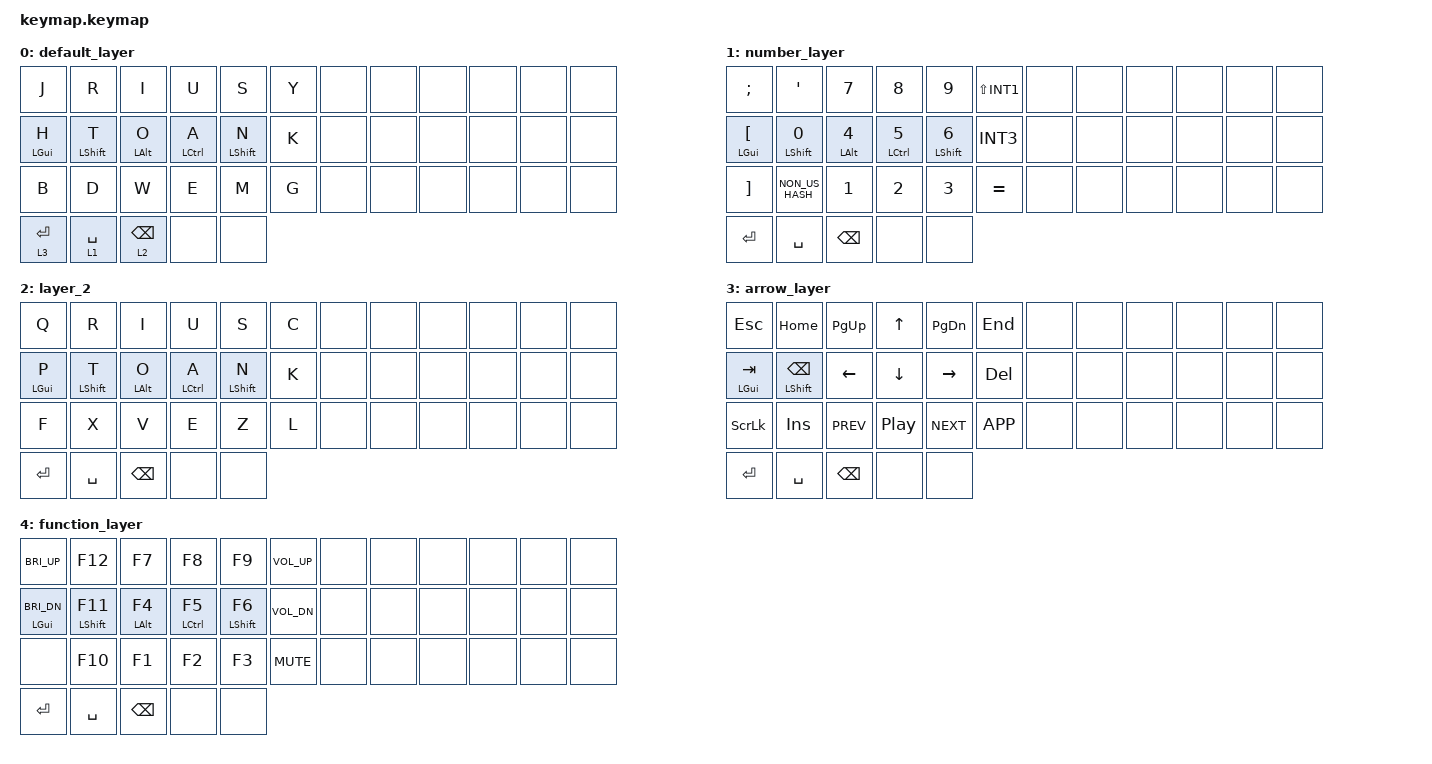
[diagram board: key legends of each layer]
#include <behaviors.dtsi>
#include <dt-bindings/zmk/keys.h>

/* --- JIS配列環境用定義 --- */
#define JIS_CARET EQUAL
#define JIS_AMPS  LS(N6)
#define JIS_ASTRK LS(SQT)
#define JIS_LPAR  LS(N8)
#define JIS_RPAR  LS(N9)
#define JIS_EQL   LS(MINUS)
#define JIS_PLUS  LS(SEMI)
#define JIS_LT    LS(COMMA)
#define JIS_GT    LS(DOT)
#define JIS_QMARK LS(SLASH)
#define JIS_UNDR  LS(INT1)
#define JIS_PIPE  LS(INT3)
#define JIS_BSLH  INT3
#define JIS_AT    LBKT
#define JIS_LBKT  RBKT
#define JIS_RBKT  NON_US_HASH
#define JIS_LBRC  LS(RBKT)
#define JIS_RBRC  LS(NON_US_HASH)
#define JIS_COLON SQT
#define JIS_SEMI  SEMI
#define JIS_QUOT  LS(N7)
#define JIS_DQUOT LS(N2)
#define JIS_GRV   LS(LBKT)
#define JIS_TILDE LS(EQUAL)
#define JIS_DLLR  LS(N4)
#define JIS_PRCNT LS(N5)
#define JIS_EXCL  LS(N1)
#define JIS_HASH  LS(N3)

/ {
    /* ホールドタップの挙動設定 */
    behaviors {
        hm: home_row_mods {
            compatible = "zmk,behavior-hold-tap";
            label = "HOME_ROW_MODS";
            #binding-cells = <2>;
            tapping-term-ms = <280>;
            quick-tap-ms = <175>;
            flavor = "tap-preferred";
            bindings = <&kp>, <&kp>;
            require-prior-idle-ms = <125>;
        };
        lt_p: layer_tap_preferred {
            compatible = "zmk,behavior-hold-tap";
            label = "LAYER_TAP_PREFERRED";
            #binding-cells = <2>;
            tapping-term-ms = <200>;
            quick-tap-ms = <0>;
            flavor = "tap-preferred";
            bindings = <&mo>, <&kp>;
        };
    };

    /* コンボ設定 */
    combos {
        compatible = "zmk,combos";
        combo_caps {
            timeout-ms = <30>;
            key-positions = <2 3>;
            bindings = <&kp CAPS>;
            layers = <0 1 2>;
        };
        combo_comma {
            timeout-ms = <30>;
            key-positions = <14 15>;
            bindings = <&kp COMMA>;
            layers = <0 1 2>;
        };
        combo_dot {
            timeout-ms = <30>;
            key-positions = <15 16>;
            bindings = <&kp DOT>;
            layers = <0 1 2>;
        };
        combo_slash {
            timeout-ms = <30>;
            key-positions = <14 16>;
            bindings = <&kp JIS_QMARK>; /* JISマクロへ変更 */
            layers = <0 1 2>;
        };
        combo_minus {
            timeout-ms = <50>;
            key-positions = <14 15 16>;
            bindings = <&kp MINUS>;
            layers = <0 1 2>;
        };
    };

    /* 条件付きレイヤー */
    conditional_layers {
        compatible = "zmk,conditional-layers";
        tri_layer {
            if-layers = <1 2>;
            then-layer = <4>;
        };
    };

    keymap {
        compatible = "zmk,keymap";

        /* Layer 0: デフォルトレイヤー */
        default_layer {
            bindings = <
                &kp J        &kp R         &kp I         &kp U        &kp S          &kp Y      &none &none &none &none &none &none
                &hm LGUI H   &hm LSHIFT T  &hm LALT O    &hm LCTRL A  &hm LSHIFT N   &kp K      &none &none &none &none &none &none
                &kp B        &kp D         &kp W         &kp E        &kp M          &kp G      &none &none &none &none &none &none
                &lt_p 3 RET  &lt_p 1 SPACE &lt_p 2 BSPC  &none        &none
            >;
        };

        /* Layer 1: 数字・記号レイヤー (JIS定義適用) */
        number_layer {
            bindings = <
                &kp JIS_SEMI    &kp JIS_COLON   &kp N7        &kp N8        &kp N9         &kp JIS_UNDR  &none &none &none &none &none &none
                &hm LGUI JIS_AT &hm LSHIFT N0   &hm LALT N4   &hm LCTRL N5  &hm LSHIFT N6  &kp JIS_BSLH  &none &none &none &none &none &none
                &kp JIS_LBKT    &kp JIS_RBKT    &kp N1        &kp N2        &kp N3         &kp JIS_CARET &none &none &none &none &none &none
                &kp RET         &kp SPACE       &kp BSPC      &none         &none
            >;
        };

        /* Layer 2: レイヤー2 */
        layer_2 {
            bindings = <
                &kp Q        &kp R         &kp I         &kp U        &kp S          &kp C      &none &none &none &none &none &none
                &hm LGUI P   &hm LSHIFT T  &hm LALT O    &hm LCTRL A  &hm LSHIFT N   &kp K      &none &none &none &none &none &none
                &kp F        &kp X         &kp V         &kp E        &kp Z          &kp L      &none &none &none &none &none &none
                &kp RET      &kp SPACE     &kp BSPC      &none        &none
            >;
        };

        /* Layer 3: 矢印・システムレイヤー */
        arrow_layer {
            bindings = <
                &kp ESC      &kp HOME      &kp PG_UP     &kp UP       &kp PG_DN      &kp END    &none &none &none &none &none &none
                &hm LGUI TAB &hm LSHIFT BSPC &kp LEFT    &kp DOWN     &kp RIGHT      &kp DEL    &none &none &none &none &none &none
                &kp SLCK     &kp INS       &kp C_PREV    &kp C_PP     &kp C_NEXT     &kp K_APP  &none &none &none &none &none &none
                &kp RET      &kp SPACE     &kp BSPC      &none        &none
            >;
        };

        /* Layer 4: ファンクションレイヤー (1+2 同時押し) */
        function_layer {
            bindings = <
                &kp C_BRI_UP &kp F12       &kp F7        &kp F8       &kp F9         &kp C_VOL_UP &none &none &none &none &none &none
                &hm LGUI C_BRI_DN &hm LSHIFT F11 &hm LALT F4 &hm LCTRL F5 &hm LSHIFT F6 &kp C_VOL_DN &none &none &none &none &none &none
                &none        &kp F10       &kp F1        &kp F2       &kp F3         &kp C_MUTE   &none &none &none &none &none &none
                &kp RET      &kp SPACE     &kp BSPC      &none        &none
            >;
        };
    };
};
